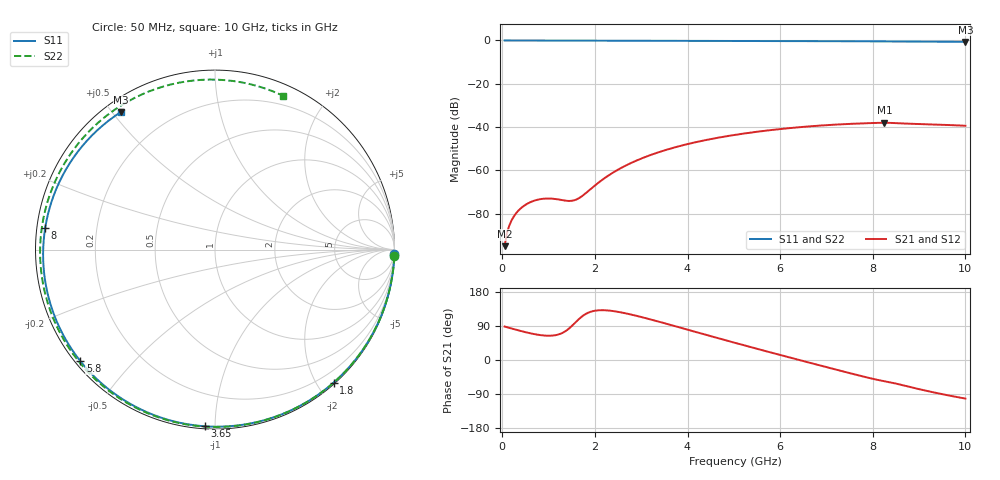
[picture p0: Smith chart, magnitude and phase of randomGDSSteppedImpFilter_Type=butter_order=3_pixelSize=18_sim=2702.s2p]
! freq	dB(S11)	phase(S11)	dB(S12)	phase(S12)
!  dB(S21)	phase(S21)	dB(S22)	phase(S22)
!S-par simulation data
#  GHz  S  DB  R 50
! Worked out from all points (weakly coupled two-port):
!   200 points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, 50 MHz to 10 GHz, reference 50 ohm
!   highest |S21| = -38.02 dB at 8.25 GHz (marker M1); lowest = -95.0 dB at 50 MHz (marker M2)
!   lowest |S11| = -0.6 dB at 10 GHz (marker M3), VSWR 27.00, Z = 2.37 + j26.4 ohm
!   |S11| at or under -10 dB: nowhere
!   |S22| runs from -0.6 to 0.0 dB; largest |S21 - S12| = 0
!   S11 on the Smith chart (normalised r, x): 50 MHz: 0, -83; 1.8 GHz: 0.02, -2.23; 3.65 GHz: 0.01, -0.94; 5.8 GHz: 0.01, -0.36; 8 GHz: 0.02, +0.06; 10 GHz: 0.05, +0.53
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0.05  -0.00 -1.4  -95.00 88.3  -95.00 88.3  -0.00 -2.2
0.3  -0.01 -8.2  -79.75 79.8  -79.75 79.8  -0.02 -13.0
0.5  -0.02 -13.7  -75.91 73.5  -75.91 73.5  -0.03 -21.5
0.75  -0.03 -20.5  -73.61 67.0  -73.61 67.0  -0.04 -32.1
1  -0.03 -27.2  -72.99 64.0  -72.99 64.0  -0.05 -42.4
1.5  -0.05 -40.5  -74.06 89.6  -74.06 89.6  -0.07 -62.2
1.75  -0.06 -47.0  -71.43 117.5  -71.43 117.5  -0.08 -71.6
1.8  -0.06 -48.3  -70.57 121.4  -70.57 121.4  -0.09 -73.5
2.15  -0.07 -57.2  -64.49 131.5  -64.49 131.5  -0.10 -86.0
2.5  -0.08 -65.9  -59.66 127.1  -59.66 127.1  -0.11 -97.8
3.4  -0.11 -87.6  -51.45 100.5  -51.45 100.5  -0.14 -125.6
3.65  -0.12 -93.4  -49.82 92.1  -49.82 92.1  -0.15 -132.7
4.35  -0.15 -109.2  -46.19 68.1  -46.19 68.1  -0.17 -151.5
5.05  -0.18 -124.4  -43.52 44.5  -43.52 44.5  -0.20 -169.3
5.8  -0.23 -140.4  -41.39 19.8  -41.39 19.8  -0.24 172.4
6.7  -0.29 -159.3  -39.56 -9.2  -39.56 -9.2  -0.29 150.8
7.35  -0.35 -173.2  -38.69 -29.9  -38.69 -29.9  -0.34 135.1
8  -0.41 172.6  -38.13 -49.7  -38.13 -49.7  -0.38 119.0
8.25  -0.44 167.0  -38.02 -56.1  -38.02 -56.1  -0.40 112.6
8.35  -0.45 164.7  -38.05 -58.4  -38.05 -58.4  -0.41 110.1
9.2  -0.55 144.7  -38.71 -82.4  -38.71 -82.4  -0.48 87.8
10  -0.64 124.3  -39.39 -101.8  -39.39 -101.8  -0.56 66.0
